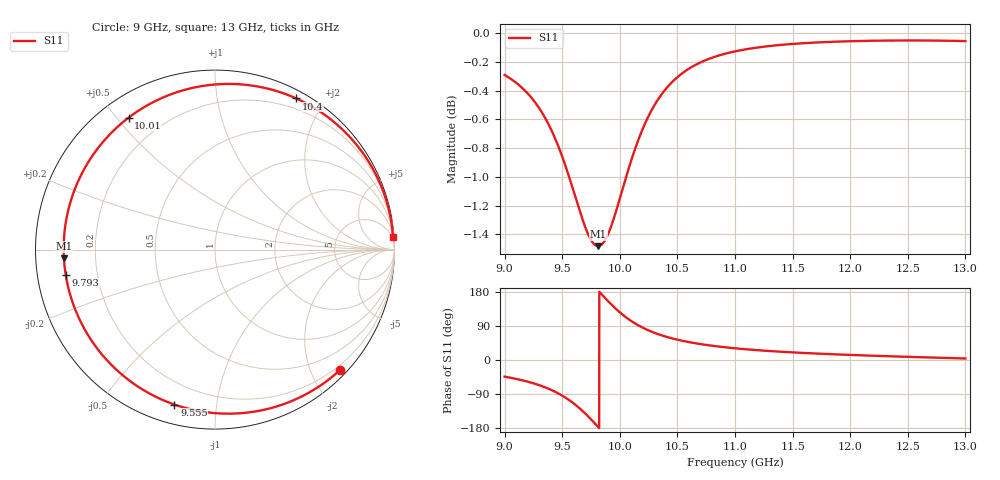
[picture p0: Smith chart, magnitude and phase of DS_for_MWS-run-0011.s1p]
! TOUCHSTONE file generated by CST DESIGN STUDIO
! Date and time: Tue Feb  4 14:00:24 2025
! Project name: C:\Work\MatlabApps\UnitCellOptimizationMatlab\CST\unitcell.cst
! Tree item: Tasks\Sweep1\SPara1\S-Parameters
! Header version: 2024
! Port assignment regex: !\s*Touchstone port\s*([0-9]+)\s*=\s*(CST MWS port|CST DES external port|CST DES block port)\s*(.+)\s* \(\"(.*)\"\)(\s*mode\s*([0-9]+))?.*
! Touchstone port assignment:
! Touchstone port 1 = CST DES external port 1 ("")
# GHz S MA R 50
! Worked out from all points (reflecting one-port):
!   4001 points, 9 GHz to 13 GHz, reference 50 ohm
!   lowest |S11| = -1.5 dB at 9.812 GHz (marker M1), VSWR 11.75, Z = 4.26 - j1.42 ohm
!   phase of S11 starts at -44 deg and turns -312 deg over the sweep
!   S11 on the Smith chart (normalised r, x): 9 GHz: 0.12, -2.48; 9.555 GHz: 0.09, -0.77; 9.793 GHz: 0.09, -0.08; 10.01 GHz: 0.08, +0.54; 10.4 GHz: 0.08, +1.67; 13 GHz: 3, +29
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9  0.9671 -43.9
9.145  0.9578 -52.9
9.277  0.9447 -64.0
9.391  0.928 -77.1
9.5  0.9059 -94.0
9.555  0.8925 -104.7
9.615  0.8768 -118.3
9.671  0.8626 -133.0
9.737  0.8493 -152.5
9.793  0.8436 -170.5
9.812  0.8432 -176.7
9.853  0.8451 169.8
9.896  0.8509 156.0
9.949  0.8624 139.9
10  0.8759 125.8
10.01  0.8787 123.2
10.082  0.8986 106.5
10.163  0.9186 91.1
10.277  0.9403 74.6
10.399  0.9563 61.7
10.5  0.9654 53.6
10.602  0.9721 47.1
10.717  0.9776 41.2
11  0.9856 30.9
11.5  0.9915 20.1
12  0.9936 13.3
12.5  0.9942 8.3
13  0.9937 4.0
